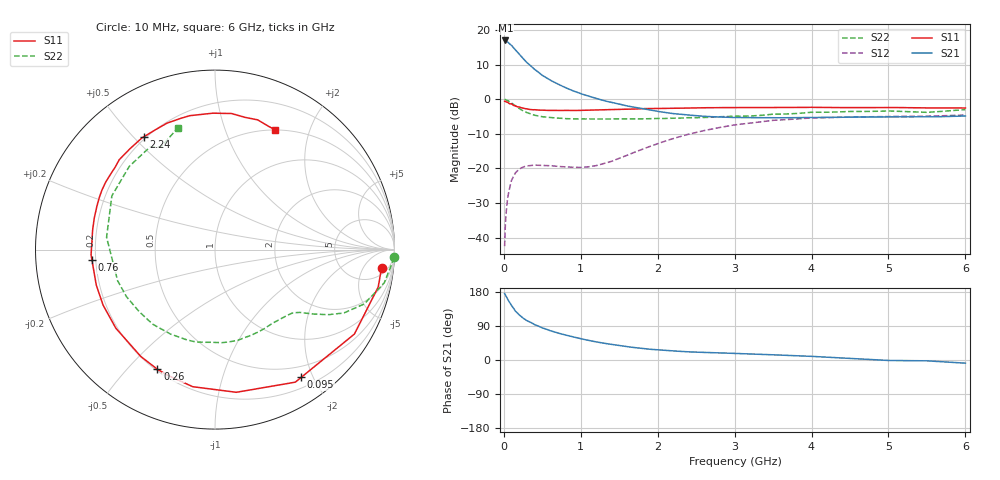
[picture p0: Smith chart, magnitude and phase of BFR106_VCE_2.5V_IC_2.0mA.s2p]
! Infineon Technologies  Discrete & RF Semiconductors
! BFR106
! VCE =  2.5 V,  IC =  2.0 mA
! Common Emitter S-Parameters:  Nov 2015
# GHz  S  MA  R  50
!  f  S11  S21  S12  S22
! GHz  MAG  ANG  MAG  ANG  MAG  ANG  MAG  ANG
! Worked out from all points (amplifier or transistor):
!   210 points, 10 MHz to 6 GHz, reference 50 ohm
!   highest |S21| = 17.0 dB at 20 MHz (marker M1)
!   |S21| within 3 dB of that: start of sweep to 162.5 MHz
!   unconditionally stable (mu >= 1): 778.3 MHz to 2.113 GHz; 3.183 GHz to end of sweep
!   at 185 MHz: K = 0.25, MSG = 17.0 dB, |S12| = -20.5 dB
!   at 1.52 GHz: K = 1.23, MAG = 4.8 dB, |S12| = -16.9 dB
!   at 6 GHz: K = 1.02, MAG = -1.1 dB, |S12| = -4.6 dB
!   S11 on the Smith chart (normalised r, x): 10 MHz: 8, -13; 95 MHz: 0.34, -1.83; 260 MHz: 0.21, -0.61; 760 MHz: 0.19, -0.04; 2.24 GHz: 0.19, +0.54; 6 GHz: 0.50, +1.50
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0.01  0.9334 -6.3  7.068 175.4  0.0075 87.0  0.9984 -2.5
0.02  0.933 -12.9  7.077 172.0  0.0154 85.2  0.9884 -4.6
0.05  0.9081 -31.2  6.741 159.7  0.0375 73.0  0.9611 -11.1
0.095  0.8587 -56.0  6.061 145.4  0.0639 59.4  0.8915 -19.0
0.1  0.8635 -58.8  6.012 143.6  0.067 58.6  0.8849 -20.0
0.15  0.8038 -81.5  5.199 129.0  0.086 47.4  0.8014 -26.1
0.2  0.7739 -99.2  4.496 119.0  0.0976 40.1  0.7335 -29.6
0.26  0.7399 -115.7  3.775 109.1  0.1054 33.6  0.6702 -32.5
0.3  0.725 -124.7  3.393 103.8  0.1086 30.8  0.6406 -33.9
0.4  0.705 -141.6  2.705 93.4  0.1114 25.7  0.5867 -36.6
0.48  0.6953 -151.2  2.308 86.7  0.1108 23.9  0.5639 -38.7
0.6  0.6904 -163.3  1.894 77.5  0.1096 23.2  0.5441 -42.3
0.76  0.6881 -175.1  1.545 68.2  0.1057 25.8  0.5278 -48.0
1.02  0.691 169.6  1.184 55.3  0.1035 36.5  0.519 -58.4
1.4  0.7118 152.3  0.897 41.1  0.1266 55.6  0.5212 -76.0
2.02  0.7354 129.4  0.662 26.6  0.2317 63.8  0.5266 -108.2
2.24  0.7429 122.1  0.614 23.4  0.2779 61.4  0.5319 -120.3
3.1  0.7577 98.7  0.543 16.7  0.4379 43.3  0.5687 -167.2
3.5  0.7601 90.9  0.538 13.7  0.4953 34.2  0.608 173.5
4.1  0.7615 81.9  0.546 8.5  0.5387 21.2  0.647 149.1
5.1  0.758 70.8  0.556 -1.4  0.5641 5.1  0.6703 121.4
6  0.7467 63.3  0.572 -8.3  0.5911 -5.4  0.7081 107.1
